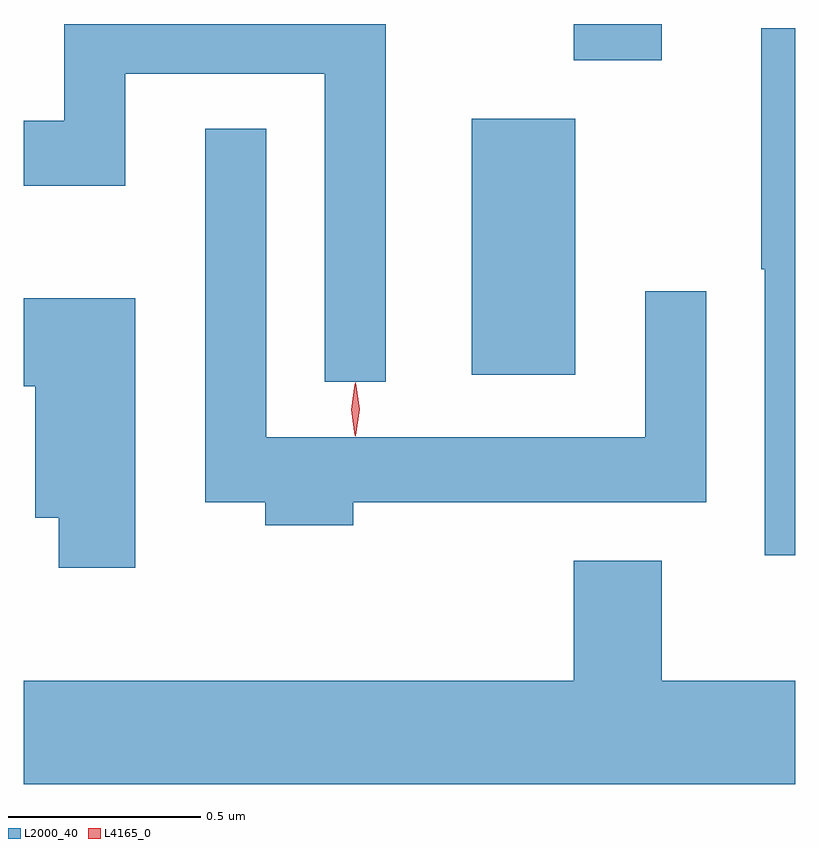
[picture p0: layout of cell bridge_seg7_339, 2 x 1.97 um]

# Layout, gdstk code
import gdstk
lib = gdstk.Library(unit=1e-6, precision=1e-09)
def R(c, l, rs):  # rectangles x0, y0, x1, y1
    for r in rs: c.add(gdstk.rectangle(r[:2], r[2:], *l))
def P(c, l, *ps):  # polygons
    for p in ps: c.add(gdstk.Polygon(p, *l))
L2000_40 = (2000, 40)
L4165_0 = (4165, 0)

bridge_seg7_339 = lib.new_cell('bridge_seg7_339')
R(bridge_seg7_339, L2000_40, [(1151.356,1766.436,1151.624,1767.099), (1151.621,1767.251,1151.849,1767.345)])
P(bridge_seg7_339, L2000_40, [(1151.134,1767.345),(1150.301,1767.345),(1150.301,1767.094),(1150.195,1767.094),(1150.195,1766.926),(1150.459,1766.926),(1150.459,1767.216),(1150.976,1767.216),(1150.976,1766.418),(1151.134,1766.418)],
  [(1152.195,1767.334),(1152.106,1767.334),(1152.106,1766.71),(1152.116,1766.71),(1152.116,1765.968),(1152.195,1765.968)],
  [(1151.049,1766.106),(1151.964,1766.106),(1151.964,1766.653),(1151.806,1766.653),(1151.806,1766.274),(1150.824,1766.274),(1150.824,1767.073),(1150.666,1767.073),(1150.666,1766.106),(1150.821,1766.106),(1150.821,1766.046),(1151.049,1766.046)],
  [(1150.484,1766.634),(1150.195,1766.634),(1150.195,1766.406),(1150.226,1766.406),(1150.226,1766.066),(1150.286,1766.066),(1150.286,1765.936),(1150.484,1765.936)],
  [(1152.195,1765.644),(1151.849,1765.644),(1151.849,1765.954),(1151.621,1765.954),(1151.621,1765.644),(1150.195,1765.644),(1150.195,1765.376),(1152.195,1765.376)])
P(bridge_seg7_339, L4165_0, [(1151.056,1766.277),(1151.055,1766.278),(1151.046,1766.347),(1151.055,1766.416),(1151.056,1766.416),(1151.056,1766.416),(1151.066,1766.347),(1151.056,1766.278)],
  [(1151.053,1766.28),(1151.044,1766.346),(1151.053,1766.412),(1151.054,1766.413),(1151.054,1766.412),(1151.064,1766.346),(1151.054,1766.28),(1151.054,1766.28)])

lib.write_gds('bridge_seg7_339.gds')
